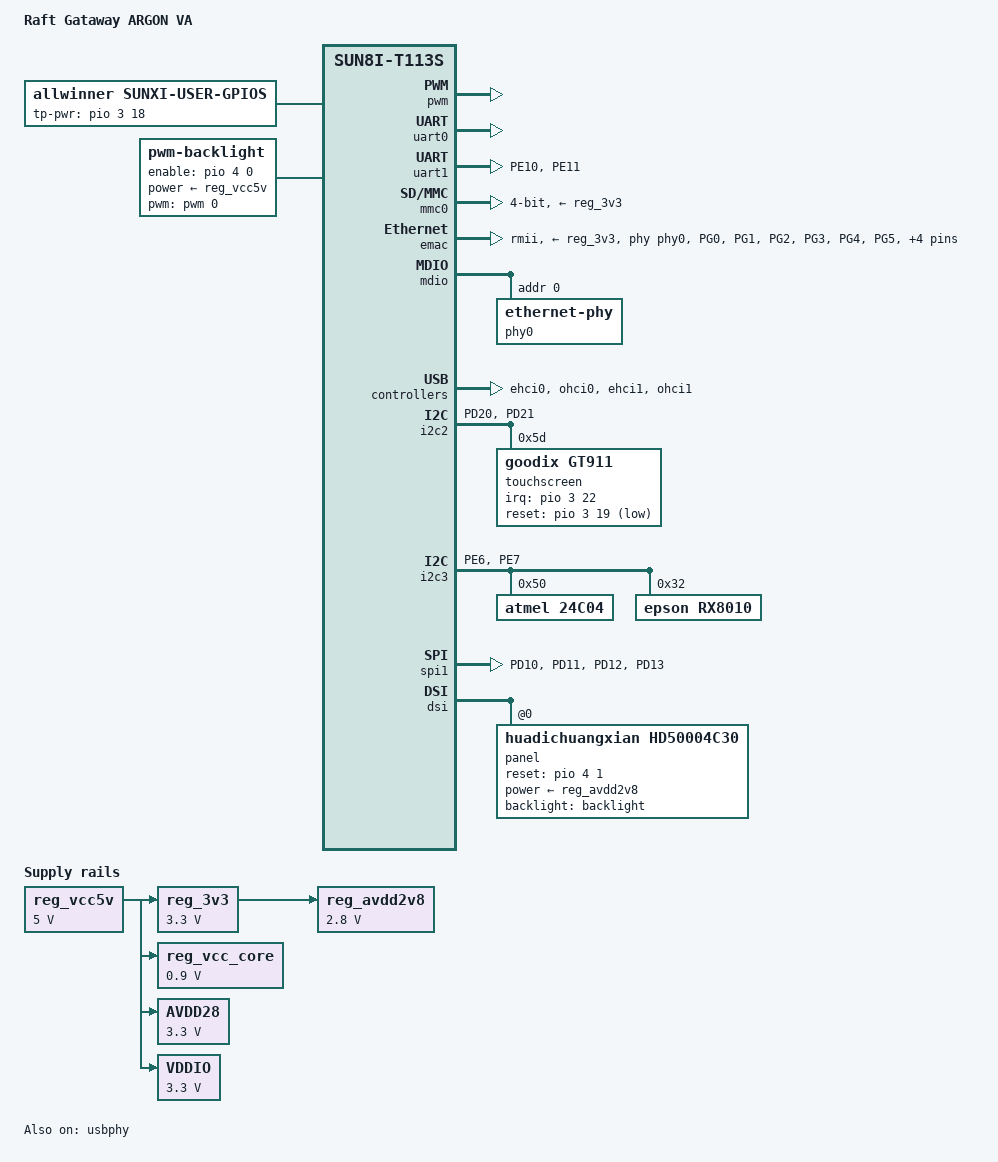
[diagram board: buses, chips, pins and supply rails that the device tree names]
// SPDX-License-Identifier: (GPL-2.0+ OR MIT)
// Copyright (C) 2022 Arm Ltd.

#include <dt-bindings/interrupt-controller/irq.h>
#include <dt-bindings/gpio/gpio.h>
#include <dt-bindings/leds/common.h>
#include <dt-bindings/pwm/pwm.h>

/dts-v1/;

#include "sun8i-t113s.dtsi"

/ {
	model = "Raft Gataway ARGON VA";
	compatible = "allwinner,sun8i-t113s";

	aliases {
                serial0 = &uart0;
	};

        chosen {
               stdout-path = "serial0:115200n8";
        };

	/* board wide 5V supply directly from DC input */
	reg_vcc5v: regulator-5v {
		compatible = "regulator-fixed";
		regulator-name = "vcc-5v";
		regulator-min-microvolt = <5000000>;
		regulator-max-microvolt = <5000000>;
		regulator-always-on;
	};
	
	/* AMS1117-3.3 regulator on the board */
	reg_3v3: regulator-3v3 {
		compatible = "regulator-fixed";
		regulator-name = "vcc-3v3";
		regulator-min-microvolt = <3300000>;
		regulator-max-microvolt = <3300000>;
		vin-supply = <&reg_vcc5v>;
	};

	/* EA3036C DC/DC regulator on the board, also supplying VDD-SYS */
	reg_vcc_core: regulator-core {
		compatible = "regulator-fixed";
		regulator-name = "vcc-core";
		regulator-min-microvolt = <900000>;
		regulator-max-microvolt = <900000>;
		vin-supply = <&reg_vcc5v>;
	};

	/* XC6206 LDO on the board */
	reg_avdd2v8: regulator-avdd {
		compatible = "regulator-fixed";
		regulator-name = "avdd2v8";
		regulator-min-microvolt = <2800000>;
		regulator-max-microvolt = <2800000>;
		vin-supply = <&reg_3v3>;
	};

	/* just for goodix-ts compatible */
	ts_avdd28 {
		compatible = "regulator-fixed";
		regulator-name = "AVDD28";
		regulator-min-microvolt = <3300000>;
		regulator-max-microvolt = <3300000>;
		vin-supply = <&reg_vcc5v>;
	};

	/* just for goodix-ts compatible */
	ts_vddio {
		compatible = "regulator-fixed";
		regulator-name = "VDDIO";
		regulator-min-microvolt = <3300000>;
		regulator-max-microvolt = <3300000>;
		vin-supply = <&reg_vcc5v>;
	};

	watchdog {
		compatible = "allwinner,sun20i-d1-wdt";
		reg = <0x020500A0 0x20>;
	};

	user-gpios {
                compatible = "allwinner,sunxi-user-gpios";
//		pinctrl-names = "default";
//		pinctrl-0 = <&tp_pwr_pin>;

		//mesh-pwr-gpios = <&pio 2 6 (GPIO_ACTIVE_HIGH | GPIO_PULL_UP)>;
		//wifi-pwr-gpios = <&pio 2 7 (GPIO_ACTIVE_HIGH | GPIO_PULL_UP)>;
		//4g-pwr-gpios = <&pio 2 3 (GPIO_ACTIVE_HIGH | GPIO_PULL_UP)>;
		//4g-rst-gpios = <&pio 2 2 (GPIO_ACTIVE_HIGH | GPIO_PULL_UP)>;
		tp-pwr-gpios = <&pio 3 18 (GPIO_ACTIVE_HIGH | GPIO_PULL_DOWN)>;
                //ephy-rst-gpios = <&pio 6 9 (GPIO_ACTIVE_HIGH | GPIO_PULL_UP)>;
		//nd-full-gpios = <&pio 3 16 (GPIO_ACTIVE_HIGH | GPIO_PULL_UP)>;
		//nd-empty-gpios = <&pio 3 15 (GPIO_ACTIVE_HIGH | GPIO_PULL_UP)>;
		//nd-mode-gpios = <&pio 3 14 (GPIO_ACTIVE_HIGH | GPIO_PULL_UP)>;
	};

	pwm: pwm@2000c00 {
		compatible = "allwinner,sun8i-h3-pwm";
		reg = <0x02000c00 0x400>;
		clocks = <&dcxo>;
		#pwm-cells = <3>;
		status = "okay";
	};

	backlight: backlight {
		   compatible = "pwm-backlight";
		   pwms = <&pwm 0 100000 PWM_POLARITY_INVERTED>;
		   power-supply = <&reg_vcc5v>;
		   /* gpio not connect to real backligth */
		   enable-gpios = <&pio 4 0 GPIO_ACTIVE_HIGH>;
		   brightness-levels = <0 30 40 50 60 70 80 90 100>;
		   default-brightness-level = <8>;
	};

	

};

&pio {
	vcc-pb-supply = <&reg_3v3>;
	vcc-pd-supply = <&reg_3v3>;
	vcc-pe-supply = <&reg_avdd2v8>;
	vcc-pf-supply = <&reg_3v3>;
	vcc-pg-supply = <&reg_3v3>;

        rmii_pg_pins: rmii-pg-pins {
	        pins = "PG0", "PG1", "PG2", "PG3", "PG4",
	        "PG5", "PG12", "PG13", "PG14", "PG15";
	        function = "emac";
        };

	uart1_pins: uart1-pins {
		pins = "PE10", "PE11";
		function = "uart1";
	};

	i2c2_pins: i2c2-pins {
		pins = "PD20", "PD21";
		function = "i2c2";
	};

	i2c3_pins: i2c3-pins {
		pins = "PE6", "PE7";
		function = "i2c3";
	};

	spi1_pins: spi1-pins {
		pins = "PD10", "PD11", "PD12", "PD13";
		function = "spi1";
	};

	pwm_pin: pwm-pin {
		pins = "PD17";
		function = "pwm";
	};

	/* for normal gpios */
//	mesh_pwr_pin: mesh-pwr-pin {
//		pins = "PC6";
//		function = "gpio_out";
//		bias-pull-up;
//	};
//
//	wifi_pwr_pin: wifi-pwr-pin {
//		pins = "PC7";
//		function = "gpio_out";
//		bias-pull-down; 
//	};
//
//	_4g_pwr_pin: 4g-pwr-pin {
//		pins = "PC3";
//		function = "gpio_out";
//		bias-pull-up; 
//	};
//	
//	_4g_rst_pin: 4g-rst-pin {
//		pins = "PC2";
//		function = "gpio_out";
//		bias-pull-up;
//	};
//
//	tp_pwr_pin: tp-pwr-pin {
//		pins = "PD18";
//		function = "gpio_out";
//		bias-pull-down;
//	};
//
//	ephy_rst_pin: ephy-rst-pin {
//		pins = "PG9";
//		function = "gpio_out";
//		bias-pull-down;
//	};
//
//	nd_full_pin: nd-full-pin {
//		pins = "PD16";
//		function = "gpio_in";
//		bias-pull-up;
//	};
//
//	nd_empty_pin: nd-empty-pin {
//		pins = "PD15";
//		function = "gpio_in";
//		bias-pull-up;
//	};
//
//	nd_mode_pin: nd-mode-pin {
//		pins = "PD14";
//		function = "gpio_in";
//		bias-pull-up;
//	};
};

&cpu0 {
	cpu-supply = <&reg_vcc_core>;
};

&cpu1 {
	cpu-supply = <&reg_vcc_core>;
};

&dcxo {
	clock-frequency = <24000000>;
};

&uart0 {
	pinctrl-names = "default";
	pinctrl-0 = <&uart0_pe_pins>;
	status = "okay";
};

&uart1 {
        pinctrl-names = "default";
        pinctrl-0 = <&uart1_pins>;
        status = "okay";
};

&mmc0 {
	pinctrl-names = "default";
	pinctrl-0 = <&mmc0_pins>;
	vmmc-supply = <&reg_3v3>;
	disable-wp;
	bus-width = <4>;
	status = "okay";
};

&emac {
	compatible = "allwinner,sun50i-h6-emac";
	pinctrl-names = "default";
	pinctrl-0 = <&rmii_pg_pins>;
	clocks = <&ccu CLK_BUS_EMAC>, <&ccu CLK_EMAC_25M>;
	clock-names = "stmmaceth", "pclk";
	phy-mode = "rmii";
	phy-handle = <&phy0>;
	phy-supply = <&reg_3v3>; 
	allwinner,tx-delay-ps = <300>;
	status = "okay";
};

&mdio {
        phy0: ethernet-phy@0 {
                reg=<0>;
                motorcomm,clk-out-frequency-hz = <0>;
                motorcomm,auto-sleep-disabled;
                motorcomm,keep-pll-enabled;
        };
};

&usbphy {
	usb1_vbus-supply = <&reg_vcc5v>;
	status = "okay";
};

&ehci0 {
        status = "okay";
};

&ohci0 {
        status = "okay";
};

&ehci1 {
        status = "okay";
};

&ohci1 {
        status = "okay";
};

&usb_otg {
        status = "disable";
};

&i2c2 {
	status = "okay";
	pinctrl-names = "default";
	pinctrl-0 = <&i2c2_pins>;

	touchscreen@5d {
            compatible = "goodix,gt911";
            reg = <0x5d>;
            interrupt-parent = <&pio>;
            interrupts = <3 22 IRQ_TYPE_EDGE_FALLING>;
            irq-gpios = <&pio 3 22 GPIO_ACTIVE_HIGH>;
            reset-gpios = <&pio 3 19 GPIO_ACTIVE_LOW>;
            touchscreen-swapped-x-y;
    };
};

&i2c3 {
	status = "okay";
	pinctrl-names = "default";
	pinctrl-0 = <&i2c3_pins>;

	24c04@50 {
		compatible = "atmel,24c04";
		reg = <0x50>;
		pagesize = <16>;
		size = <512>;
	};

	rx8010@32{
		compatible = "epson,rx8010";
		reg = <0x32>;
	};
};

&spi1 {
	status = "okay";
	pinctrl-names = "default";
	pinctrl-0 = <&spi1_pins>;
};

&dsi {
	status = "okay";
	#address-cells = <1>;
	#size-cells = <0>;

	panel@0 {
		compatible = "huadichuangxian,hd50004c30", "ilitek,ili9881c";
		reg = <0>;
		power-supply = <&reg_avdd2v8>;
		reset-gpios = <&pio 4 1 GPIO_ACTIVE_HIGH>;
		backlight = <&backlight>;
	};
};

